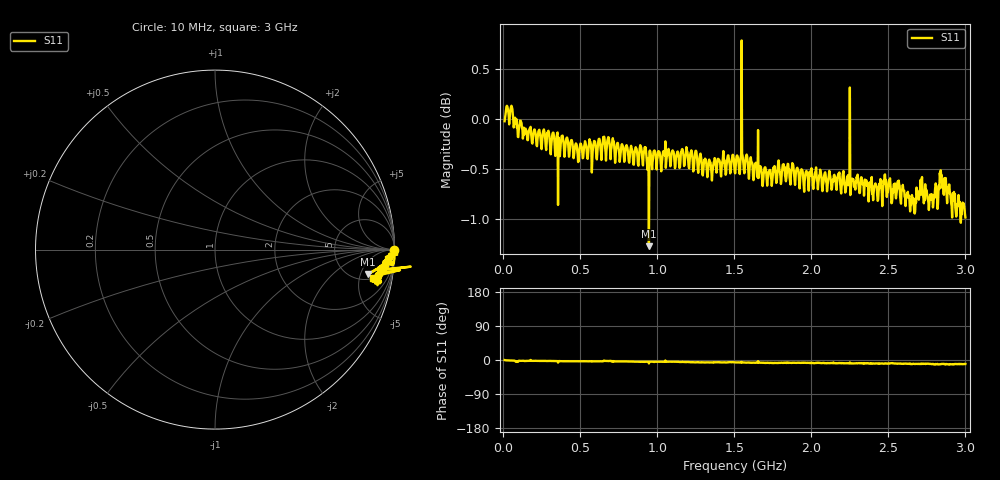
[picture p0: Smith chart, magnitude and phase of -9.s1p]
# HZ S RI R 50
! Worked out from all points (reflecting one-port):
!   1010 points, 10 MHz to 3 GHz, reference 50 ohm
!   lowest |S11| = -1.3 dB at 946.4 MHz (marker M1), VSWR 13.63, Z = 316 - j338 ohm
!   phase of S11 starts at -0 deg and turns -10 deg over the sweep
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1e7  0.9973 -0.00258
6.037661e7  1.011 -0.0283
9.297324e7  0.9902 -0.0685
1.166799e8  0.9958 -0.0376
1.700198e8  0.987 -0.0375
3.863429e8  0.9795 -0.0535
6.322993e8  0.9651 -0.0561
6.648959e8  0.9616 -0.0397
7.597225e8  0.9541 -0.0635
9.108523e8  0.9544 -0.0801
9.464123e8  0.8525 -0.1363
1.133102e9  0.9599 -0.0783
1.284232e9  0.9519 -0.1042
1.506482e9  0.9335 -0.1022
1.556858e9  0.9487 -0.1051
1.580565e9  0.9524 -0.1179
1.699098e9  0.9371 -0.1268
1.879861e9  0.9411 -0.1242
2.229534e9  0.9191 -0.1384
2.253241e9  0.9057 -0.1353
2.457711e9  0.9069 -0.1423
2.525867e9  0.9023 -0.1303
2.62662e9  0.9058 -0.1567
2.709594e9  0.9183 -0.1598
2.77775e9  0.8949 -0.1708
2.84887e9  0.9089 -0.1644
2.90221e9  0.9008 -0.1764
3e9  0.8782 -0.1591
